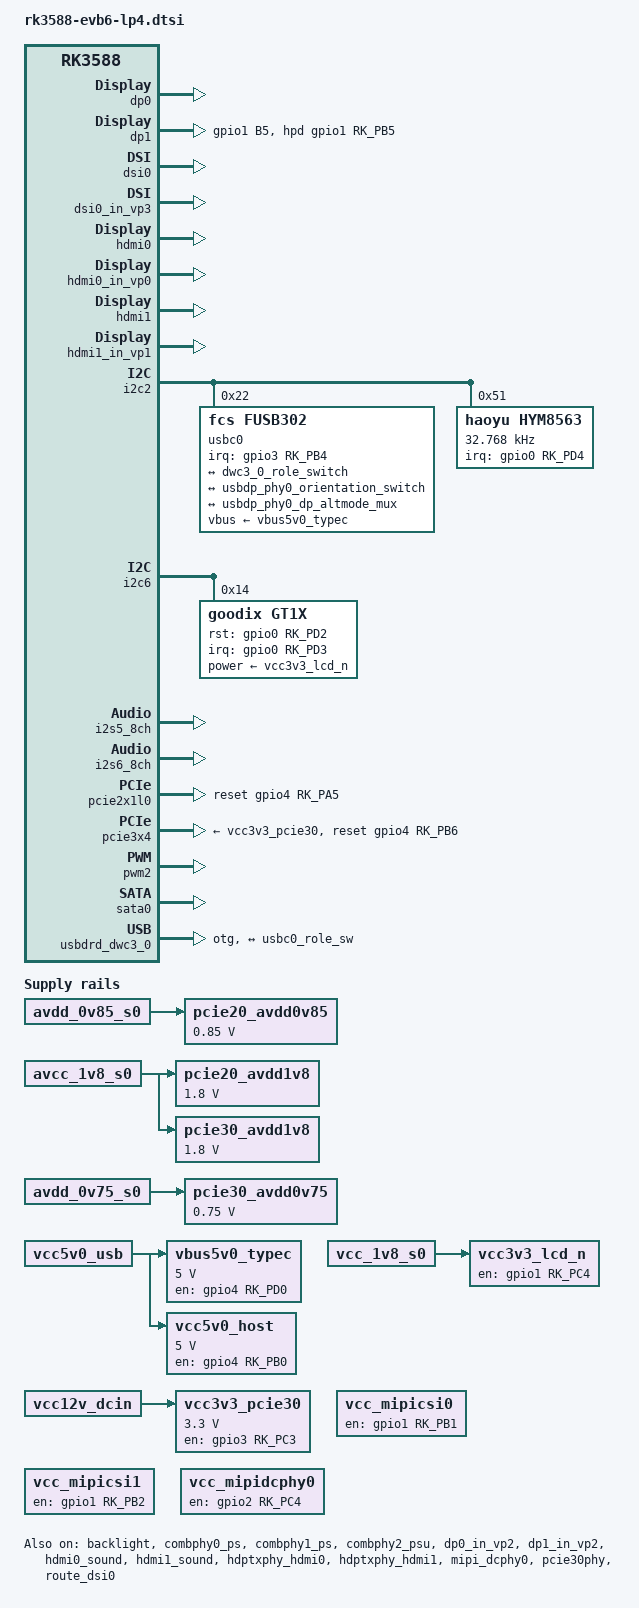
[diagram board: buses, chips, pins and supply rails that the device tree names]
// SPDX-License-Identifier: (GPL-2.0+ OR MIT)
/*
 * Copyright (c) 2021 Rockchip Electronics Co., Ltd.
 *
 */

#include "dt-bindings/usb/pd.h"
#include "rk3588.dtsi"
#include "rk3588-evb.dtsi"
#include "rk3588-rk806-dual.dtsi"

/ {
	pcie20_avdd0v85: pcie20-avdd0v85 {
		compatible = "regulator-fixed";
		regulator-name = "pcie20_avdd0v85";
		regulator-boot-on;
		regulator-always-on;
		regulator-min-microvolt = <850000>;
		regulator-max-microvolt = <850000>;
		vin-supply = <&avdd_0v85_s0>;
	};

	pcie20_avdd1v8: pcie20-avdd1v8 {
		compatible = "regulator-fixed";
		regulator-name = "pcie20_avdd1v8";
		regulator-boot-on;
		regulator-always-on;
		regulator-min-microvolt = <1800000>;
		regulator-max-microvolt = <1800000>;
		vin-supply = <&avcc_1v8_s0>;
	};

	pcie30_avdd0v75: pcie30-avdd0v75 {
		compatible = "regulator-fixed";
		regulator-name = "pcie30_avdd0v75";
		regulator-boot-on;
		regulator-always-on;
		regulator-min-microvolt = <750000>;
		regulator-max-microvolt = <750000>;
		vin-supply = <&avdd_0v75_s0>;
	};

	pcie30_avdd1v8: pcie30-avdd1v8 {
		compatible = "regulator-fixed";
		regulator-name = "pcie30_avdd1v8";
		regulator-boot-on;
		regulator-always-on;
		regulator-min-microvolt = <1800000>;
		regulator-max-microvolt = <1800000>;
		vin-supply = <&avcc_1v8_s0>;
	};

	vbus5v0_typec: vbus5v0-typec {
		compatible = "regulator-fixed";
		regulator-name = "vbus5v0_typec";
		regulator-min-microvolt = <5000000>;
		regulator-max-microvolt = <5000000>;
		enable-active-high;
		gpio = <&gpio4 RK_PD0 GPIO_ACTIVE_HIGH>;
		vin-supply = <&vcc5v0_usb>;
		pinctrl-names = "default";
		pinctrl-0 = <&typec5v_pwren>;
	};

	vcc3v3_lcd_n: vcc3v3-lcd0-n {
		compatible = "regulator-fixed";
		regulator-name = "vcc3v3_lcd0_n";
		regulator-boot-on;
		enable-active-high;
		gpio = <&gpio1 RK_PC4 GPIO_ACTIVE_HIGH>;
		vin-supply = <&vcc_1v8_s0>;
	};

	vcc3v3_pcie30: vcc3v3-pcie30 {
		compatible = "regulator-fixed";
		regulator-name = "vcc3v3_pcie30";
		regulator-min-microvolt = <3300000>;
		regulator-max-microvolt = <3300000>;
		enable-active-high;
		gpios = <&gpio3 RK_PC3 GPIO_ACTIVE_HIGH>;
		startup-delay-us = <5000>;
		vin-supply = <&vcc12v_dcin>;
	};

	vcc5v0_host: vcc5v0-host {
		compatible = "regulator-fixed";
		regulator-name = "vcc5v0_host";
		regulator-boot-on;
		regulator-always-on;
		regulator-min-microvolt = <5000000>;
		regulator-max-microvolt = <5000000>;
		enable-active-high;
		gpio = <&gpio4 RK_PB0 GPIO_ACTIVE_HIGH>;
		vin-supply = <&vcc5v0_usb>;
		pinctrl-names = "default";
		pinctrl-0 = <&vcc5v0_host_en>;
	};

	vcc_mipicsi0: vcc-mipicsi0-regulator {
		compatible = "regulator-fixed";
		gpio = <&gpio1 RK_PB1 GPIO_ACTIVE_HIGH>;
		pinctrl-names = "default";
		pinctrl-0 = <&mipicsi0_pwr>;
		regulator-name = "vcc_mipicsi0";
		enable-active-high;
	};

	vcc_mipicsi1: vcc-mipicsi1-regulator {
		compatible = "regulator-fixed";
		gpio = <&gpio1 RK_PB2 GPIO_ACTIVE_HIGH>;
		pinctrl-names = "default";
		pinctrl-0 = <&mipicsi1_pwr>;
		regulator-name = "vcc_mipicsi1";
		enable-active-high;
	};

	vcc_mipidcphy0: vcc-mipidcphy0-regulator {
		compatible = "regulator-fixed";
		gpio = <&gpio2 RK_PC4 GPIO_ACTIVE_HIGH>;
		pinctrl-names = "default";
		pinctrl-0 = <&mipidcphy0_pwr>;
		regulator-name = "vcc_mipidcphy0";
		enable-active-high;
	};
};

&backlight {
	pwms = <&pwm2 0 25000 0>;
	status = "okay";
};

&combphy0_ps {
	status = "okay";
};

&combphy1_ps {
	status = "okay";
};

&combphy2_psu {
	status = "okay";
};

&dp0 {
	status = "okay";
};

&dp0_in_vp2 {
	status = "okay";
};

&dp1 {
	pinctrl-names = "default";
	pinctrl-0 = <&dp1_hpd>;
	hpd-gpios = <&gpio1 RK_PB5 GPIO_ACTIVE_HIGH>;
	status = "okay";
};

&dp1_in_vp2 {
	status = "okay";
};

/*
 * mipi_dcphy0 needs to be enabled
 * when dsi0 is enabled
 */
&dsi0 {
	status = "okay";
};

&dsi0_in_vp2 {
	status = "disabled";
};

&dsi0_in_vp3 {
	status = "okay";
};

&dsi0_panel {
	power-supply = <&vcc3v3_lcd_n>;
	reset-gpios = <&gpio2 RK_PB4 GPIO_ACTIVE_LOW>;
	pinctrl-names = "default";
	pinctrl-0 = <&lcd_rst_gpio>;
};

/*
 * mipi_dcphy1 needs to be enabled
 * when dsi1 is enabled
 */
&dsi1 {
	status = "disabled";
};

&dsi1_in_vp2 {
	status = "disabled";
};

&dsi1_in_vp3 {
	status = "disabled";
};

&dsi1_panel {
	power-supply = <&vcc3v3_lcd_n>;

	/*
	 * because in hardware, the two screens share the reset pin,
	 * so reset-gpios need only in dsi1 enable and dsi0 disabled
	 * case.
	 */

	//reset-gpios = <&gpio2 RK_PB4 GPIO_ACTIVE_LOW>;
	//pinctrl-names = "default";
	//pinctrl-0 = <&lcd_rst_gpio>;
};

&hdmi0 {
	enable-gpios = <&gpio4 RK_PB1 GPIO_ACTIVE_HIGH>;
	status = "okay";
};

&hdmi0_in_vp0 {
	status = "okay";
};

&hdmi0_sound {
	status = "okay";
};

&hdmi1 {
	enable-gpios = <&gpio4 RK_PB2 GPIO_ACTIVE_HIGH>;
	status = "okay";
};

&hdmi1_in_vp1 {
	status = "okay";
};

&hdmi1_sound {
	status = "okay";
};

&hdptxphy_hdmi0 {
	status = "okay";
};

&hdptxphy_hdmi1 {
	status = "okay";
};

&i2c2 {
	status = "okay";

	usbc0: fusb302@22 {
		compatible = "fcs,fusb302";
		reg = <0x22>;
		interrupt-parent = <&gpio3>;
		interrupts = <RK_PB4 IRQ_TYPE_LEVEL_LOW>;
		pinctrl-names = "default";
		pinctrl-0 = <&usbc0_int>;
		vbus-supply = <&vbus5v0_typec>;
		status = "okay";

		ports {
			#address-cells = <1>;
			#size-cells = <0>;

			port@0 {
				reg = <0>;
				usbc0_role_sw: endpoint@0 {
					remote-endpoint = <&dwc3_0_role_switch>;
				};
			};
		};

		usb_con: connector {
			compatible = "usb-c-connector";
			label = "USB-C";
			data-role = "dual";
			power-role = "dual";
			try-power-role = "sink";
			op-sink-microwatt = <1000000>;
			sink-pdos =
				<PDO_FIXED(5000, 1000, PDO_FIXED_USB_COMM)>;
			source-pdos =
				<PDO_FIXED(5000, 3000, PDO_FIXED_USB_COMM)>;

			altmodes {
				#address-cells = <1>;
				#size-cells = <0>;

				altmode@0 {
					reg = <0>;
					svid = <0xff01>;
					vdo = <0xffffffff>;
				};
			};

			ports {
				#address-cells = <1>;
				#size-cells = <0>;

				port@0 {
					reg = <0>;
					usbc0_orien_sw: endpoint {
						remote-endpoint = <&usbdp_phy0_orientation_switch>;
					};
				};

				port@1 {
					reg = <1>;
					dp_altmode_mux: endpoint {
						remote-endpoint = <&usbdp_phy0_dp_altmode_mux>;
					};
				};
			};
		};
	};

	hym8563: hym8563@51 {
		compatible = "haoyu,hym8563";
		reg = <0x51>;
		#clock-cells = <0>;
		clock-frequency = <32768>;
		clock-output-names = "hym8563";
		pinctrl-names = "default";
		pinctrl-0 = <&hym8563_int>;
		interrupt-parent = <&gpio0>;
		interrupts = <RK_PD4 IRQ_TYPE_LEVEL_LOW>;
		wakeup-source;
	};
};

&i2c6 {
	status = "okay";
	gt1x: gt1x@14 {
		compatible = "goodix,gt1x";
		reg = <0x14>;
		pinctrl-names = "default";
		pinctrl-0 = <&touch_gpio>;
		goodix,rst-gpio = <&gpio0 RK_PD2 GPIO_ACTIVE_HIGH>;
		goodix,irq-gpio = <&gpio0 RK_PD3 IRQ_TYPE_LEVEL_LOW>;
		power-supply = <&vcc3v3_lcd_n>;
	};
};

&i2s5_8ch {
	status = "okay";
};

&i2s6_8ch {
	status = "okay";
};

&mipi_dcphy0 {
	status = "okay";
};

&mipi_dcphy1 {
	status = "disabled";
};

&pcie2x1l0 {
	reset-gpios = <&gpio4 RK_PA5 GPIO_ACTIVE_HIGH>;
	status = "okay";
};

&pcie30phy {
	rockchip,pcie30-phymode = <PHY_MODE_PCIE_AGGREGATION>;
	status = "okay";
};

&pcie3x4 {
	reset-gpios = <&gpio4 RK_PB6 GPIO_ACTIVE_HIGH>;
	vpcie3v3-supply = <&vcc3v3_pcie30>;
	status = "okay";
};

&pinctrl {
	cam {
		mipicsi0_pwr: mipicsi0-pwr {
			rockchip,pins =
				/* camera power en */
				<1 RK_PB1 RK_FUNC_GPIO &pcfg_pull_none>;
		};
		mipicsi1_pwr: mipicsi1-pwr {
			rockchip,pins =
				/* camera power en */
				<1 RK_PB2 RK_FUNC_GPIO &pcfg_pull_none>;
		};
		mipidcphy0_pwr: mipidcphy0-pwr {
			rockchip,pins =
				/* camera power en */
				<2 RK_PC4 RK_FUNC_GPIO &pcfg_pull_none>;
		};
	};

	dp {
		dp1_hpd: dp1-hpd {
			rockchip,pins = <1 RK_PB5 RK_FUNC_GPIO &pcfg_pull_none>;
		};
	};

	hym8563 {
		hym8563_int: hym8563-int {
			rockchip,pins = <0 RK_PD4 RK_FUNC_GPIO &pcfg_pull_up>;
		};
	};

	lcd {
		lcd_rst_gpio: lcd-rst-gpio {
			rockchip,pins = <2 RK_PB4 RK_FUNC_GPIO &pcfg_pull_none>;
		};
	};

	touch {
		touch_gpio: touch-gpio {
			rockchip,pins =
				<0 RK_PD2 RK_FUNC_GPIO &pcfg_pull_up>,
				<0 RK_PD3 RK_FUNC_GPIO &pcfg_pull_none>;
		};
	};

	usb {
		vcc5v0_host_en: vcc5v0-host-en {
			rockchip,pins = <4 RK_PB0 RK_FUNC_GPIO &pcfg_pull_none>;
		};
	};

	usb-typec {
		usbc0_int: usbc0-int {
			rockchip,pins = <3 RK_PB4 RK_FUNC_GPIO &pcfg_pull_up>;
		};

		typec5v_pwren: typec5v-pwren {
			rockchip,pins = <4 RK_PD0 RK_FUNC_GPIO &pcfg_pull_none>;
		};
	};
};

&pwm2 {
	status = "okay";
};

&route_dsi0 {
	status = "okay";
	connect = <&vp3_out_dsi0>;
};

&route_dsi1 {
	status = "disabled";
	connect = <&vp3_out_dsi1>;
};

&sata0 {
	status = "okay";
};

&u2phy0_otg {
	rockchip,typec-vbus-det;
};

&u2phy1_otg {
	phy-supply = <&vcc5v0_host>;
};

&u2phy2_host {
	phy-supply = <&vcc5v0_host>;
};

&u2phy3_host {
	phy-supply = <&vcc5v0_host>;
};

&usbdp_phy0 {
	orientation-switch;
	svid = <0xff01>;
	sbu1-dc-gpios = <&gpio4 RK_PA6 GPIO_ACTIVE_HIGH>;
	sbu2-dc-gpios = <&gpio4 RK_PA7 GPIO_ACTIVE_HIGH>;

	port {
		#address-cells = <1>;
		#size-cells = <0>;
		usbdp_phy0_orientation_switch: endpoint@0 {
			reg = <0>;
			remote-endpoint = <&usbc0_orien_sw>;
		};

		usbdp_phy0_dp_altmode_mux: endpoint@1 {
			reg = <1>;
			remote-endpoint = <&dp_altmode_mux>;
		};
	};
};

&usbdp_phy1 {
	rockchip,dp-lane-mux = <2 3>;
};

&usbdrd_dwc3_0 {
	dr_mode = "otg";
	usb-role-switch;
	port {
		#address-cells = <1>;
		#size-cells = <0>;
		dwc3_0_role_switch: endpoint@0 {
			reg = <0>;
			remote-endpoint = <&usbc0_role_sw>;
		};
	};
};

&usbhost3_0 {
	status = "disabled";
};

&usbhost_dwc3_0 {
	status = "disabled";
};
